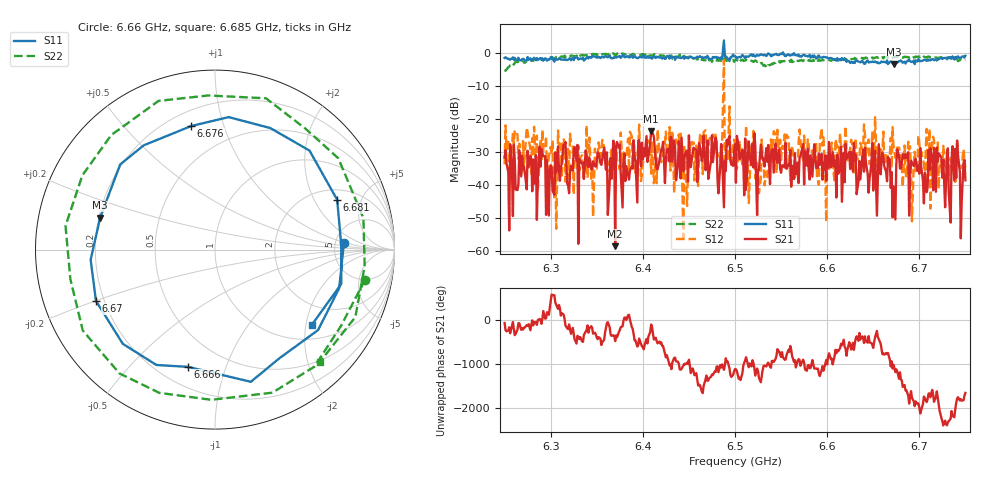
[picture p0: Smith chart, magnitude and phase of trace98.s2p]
# Hz S RI R 50
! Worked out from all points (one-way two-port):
!   401 points, 6.25 GHz to 6.75 GHz, reference 50 ohm
!   highest |S21| = -23.81 dB at 6.409 GHz (marker M1); lowest = -58.6 dB at 6.37 GHz (marker M2)
!   lowest |S11| = -3.6 dB at 6.672 GHz (marker M3), VSWR 4.95, Z = 10.3 + j6.53 ohm
!   |S11| at or under -10 dB: nowhere
!   |S22| runs from -5.5 to -0.1 dB; largest |S21 - S12| = 0.77
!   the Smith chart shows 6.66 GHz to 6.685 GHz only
!   S11 on the Smith chart (normalised r, x): 6.66 GHz: 5.99, +0.85; 6.666 GHz: 0.31, -0.75; 6.67 GHz: 0.17, -0.20; 6.676 GHz: 0.29, +0.78; 6.681 GHz: 2.57, +3.10; 6.685 GHz: 1.37, -2.16
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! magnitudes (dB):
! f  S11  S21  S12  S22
! 6.25 GHz  -1.6  -31.8  -33.8  -5.2
! 6.256 GHz  -2.1  -27.7  -35.8  -3.8
! 6.334 GHz  -1.9  -33.6  -31.1  -0.7
! 6.37 GHz  -1.5  -58.6  -33.6  -1.0
! 6.409 GHz  -1.5  -23.8  -36.7  -0.9
! 6.418 GHz  -1.5  -32.8  -30.2  -1.2
! 6.439 GHz  -1.5  -26.9  -24.8  -1.0
! 6.446 GHz  -1.3  -30.5  -31.8  -1.5
! 6.465 GHz  -1.5  -30.9  -36.8  -1.6
! 6.5 GHz  -1.1  -27.8  -27.9  -2.5
! 6.584 GHz  -0.9  -37.6  -29.7  -2.5
! 6.66 GHz  -2.9  -30.3  -29.7  -1.4
! 6.666 GHz  -3.5  -31.6  -30.8  -1.3
! 6.668 GHz  -2.8  -32.6  -31.2  -1.2
! 6.67 GHz  -2.8  -36.2  -34.9  -1.7
! 6.672 GHz  -3.6  -40.5  -28.2  -1.4
! 6.676 GHz  -3.1  -29.3  -28.7  -1.3
! 6.681 GHz  -2.7  -33.4  -32.9  -1.5
! 6.685 GHz  -3.3  -30.8  -36.1  -1.3
! 6.706 GHz  -2.2  -36.4  -36.2  -1.4
! 6.721 GHz  -2.0  -30.6  -41.3  -1.6
! 6.75 GHz  -1.0  -38.7  -34.8  -2.3
